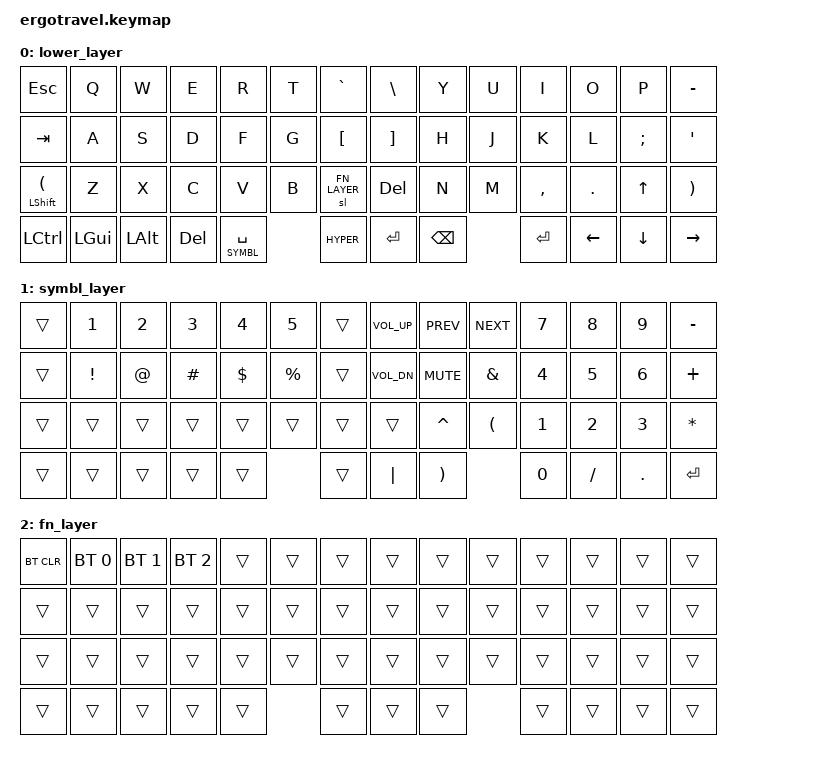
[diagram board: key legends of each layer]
/*
 * Copyright (c) 2020 The ZMK Contributors
 *
 * SPDX-License-Identifier: MIT
 */

#include <behaviors.dtsi>
#include <dt-bindings/zmk/keys.h>
#include <dt-bindings/zmk/bt.h>
#include <dt-bindings/zmk/ext_power.h>

#define LOWER 0
#define SYMBL 1
#define FN_LAYER 2
//#define HYPER LS(LC(LGUI))
//&lt { tapping_term_ms = <300>; };
//&mt { tapping_term_ms = <300>; };
//&sl { release-after-ms = <2000>; };

/ {
	keymap {
		compatible = "zmk,keymap";

		lower_layer {
    bindings = <
&kp ESC         &kp Q     &kp W      &kp E    &kp R  &kp T    &kp GRAVE     &kp BSLH    &kp Y    &kp U     &kp I     &kp O    &kp P    &kp MINUS 
&kp TAB         &kp A     &kp S      &kp D    &kp F  &kp G    &kp LBKT      &kp RBKT    &kp H    &kp J     &kp K     &kp L    &kp SEMI &kp SINGLE_QUOTE 
&mt LSHFT LPAR  &kp Z     &kp X      &kp C    &kp V  &kp B    &sl FN_LAYER  &kp DEL     &kp N    &kp M     &kp COMMA &kp DOT  &kp UP   &kp RPAR
&kp LCTL        &kp LGUI  &kp LALT   &kp DEL  &lt SYMBL SPACE &kp HYPER     &kp RET     &kp BSPC           &kp RET   &kp LEFT &kp DOWN &kp RIGHT
>;
		};

    symbl_layer {
    bindings = <
&trans          &kp N1  &kp N2  &kp N3   &kp N4   &kp N5    &trans          &kp C_VOL_UP &kp C_PREV &kp C_NEXT &kp N7 &kp N8   &kp N9  &kp MINUS
&trans          &kp EXCL &kp AT &kp HASH &kp DLLR &kp PRCNT &trans          &kp C_VOL_DN &kp C_MUTE &kp AMPS   &kp N4 &kp N5   &kp N6  &kp PLUS
&trans          &trans  &trans  &trans   &trans  &trans     &trans          &trans       &kp CARET  &kp LPAR   &kp N1 &kp N2   &kp N3  &kp STAR
&trans          &trans  &trans  &trans   &trans  &trans                                  &kp PIPE   &kp RPAR   &kp N0 &kp FSLH &kp DOT &kp RET
>;
    		};


  fn_layer {
    bindings = <
&bt BT_CLR      &bt BT_SEL 0 &bt BT_SEL 1 &bt BT_SEL 2 &trans  &trans  &trans              &trans  &trans  &trans &trans &trans &trans &trans
&trans          &trans       &trans       &trans       &trans  &trans  &trans              &trans  &trans  &trans &trans &trans &trans &trans
&trans          &trans       &trans       &trans       &trans  &trans  &trans              &trans  &trans  &trans &trans &trans &trans &trans
&trans          &trans       &trans       &trans       &trans  &trans                              &trans  &trans &trans &trans &trans &trans
>;
        };


	};
};
